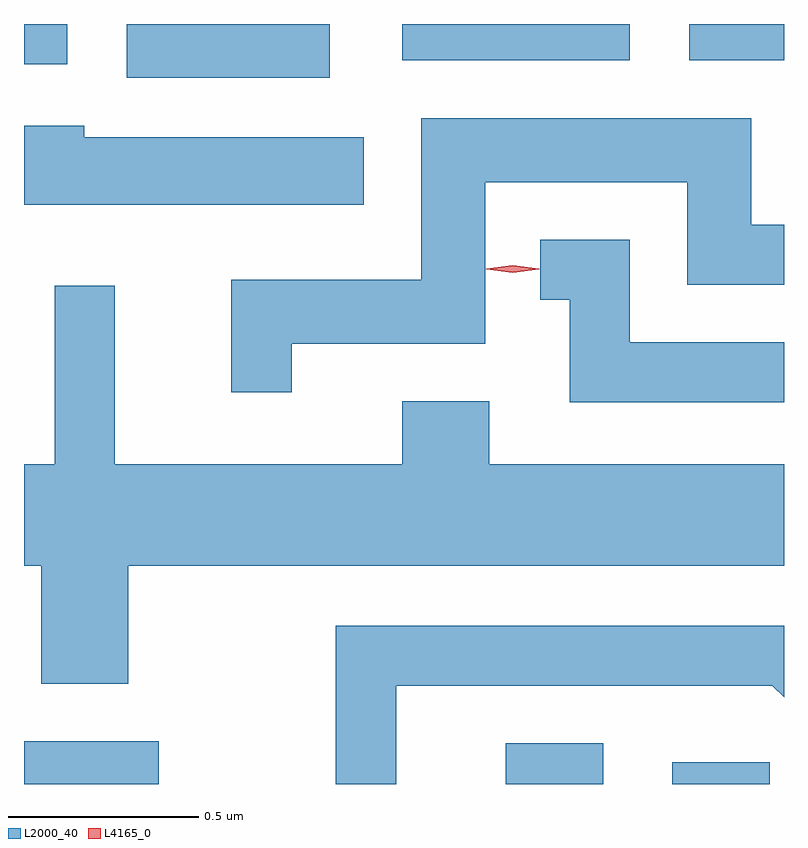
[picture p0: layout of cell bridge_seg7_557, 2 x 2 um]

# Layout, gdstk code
import gdstk
lib = gdstk.Library(unit=1e-6, precision=1e-09)
def R(c, l, rs):  # rectangles x0, y0, x1, y1
    for r in rs: c.add(gdstk.rectangle(r[:2], r[2:], *l))
def P(c, l, *ps):  # polygons
    for p in ps: c.add(gdstk.Polygon(p, *l))
L2000_40 = (2000, 40)
L4165_0 = (4165, 0)

bridge_seg7_557 = lib.new_cell('bridge_seg7_557')
R(bridge_seg7_557, L2000_40, [(848.435,1780.342,848.789,1780.454), (849.703,1780.342,849.959,1780.449), (850.141,1780.342,850.398,1780.399), (848.706,1782.201,849.239,1782.342), (848.435,1782.236,848.549,1782.342), (849.431,1782.246,850.029,1782.342), (850.186,1782.246,850.435,1782.342)])
P(bridge_seg7_557, L2000_40, [(849.139,1781.501),(849.649,1781.501),(849.649,1781.926),(850.181,1781.926),(850.181,1781.656),(850.435,1781.656),(850.435,1781.814),(850.349,1781.814),(850.349,1782.094),(849.481,1782.094),(849.481,1781.669),(848.981,1781.669),(848.981,1781.373),(849.139,1781.373)],
  [(849.329,1782.044),(848.594,1782.044),(848.594,1782.074),(848.435,1782.074),(848.435,1781.866),(849.329,1781.866)],
  [(850.435,1781.504),(850.029,1781.504),(850.029,1781.774),(849.793,1781.774),(849.793,1781.616),(849.871,1781.616),(849.871,1781.346),(850.435,1781.346)],
  [(848.709,1780.916),(850.435,1780.916),(850.435,1781.184),(849.659,1781.184),(849.659,1781.349),(849.431,1781.349),(849.431,1781.184),(848.674,1781.184),(848.674,1781.653),(848.516,1781.653),(848.516,1781.184),(848.435,1781.184),(848.435,1780.916),(848.481,1780.916),(848.481,1780.606),(848.709,1780.606)],
  [(849.414,1780.601),(850.404,1780.601),(850.435,1780.57),(850.435,1780.759),(849.256,1780.759),(849.256,1780.342),(849.414,1780.342)])
P(bridge_seg7_557, L4165_0, [(849.721,1781.687),(849.652,1781.697),(849.652,1781.697),(849.652,1781.698),(849.721,1781.707),(849.791,1781.698),(849.791,1781.697),(849.791,1781.697)])

lib.write_gds('bridge_seg7_557.gds')
